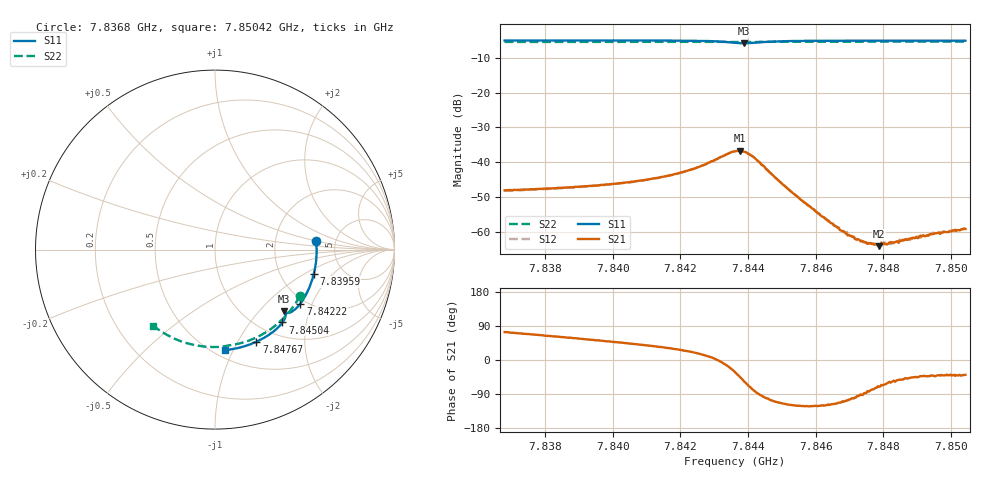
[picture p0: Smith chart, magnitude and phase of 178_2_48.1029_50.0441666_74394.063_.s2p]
#  HZ  S  RI  R  50.00
! Rohde & Schwarz Vector Network Analyzer
! Rohde-Schwarz,ZNB20-2Port,1311601062101988,3.16
! Created: UTC 12/23/2023, 3:52:28 AM
! freq[Hz]  re:S11  im:S11  re:S21  im:S21  re:S12  im:S12  re:S22  im:S22
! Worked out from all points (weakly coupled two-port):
!   401 points, 7.8368 GHz to 7.85042 GHz, reference 50 ohm
!   highest |S21| = -36.71 dB at 7.84375 GHz (marker M1); lowest = -64.2 dB at 7.84787 GHz (marker M2)
!   lowest |S11| = -5.7 dB at 7.84388 GHz (marker M3), VSWR 3.14, Z = 73.8 - j69.4 ohm
!   |S11| at or under -10 dB: nowhere
!   |S22| runs from -5.4 to -5.3 dB; largest |S21 - S12| = 0.00027
!   S11 on the Smith chart (normalised r, x): 7.8368 GHz: 3.53, +0.51; 7.83959 GHz: 3.07, -1.23; 7.84222 GHz: 1.87, -1.65; 7.84504 GHz: 1.25, -1.46; 7.84767 GHz: 0.80, -1.20; 7.85042 GHz: 0.57, -0.93
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7.836801e9  0.5641 0.049  0.0011 0.00376  0.00111 0.00368  0.4739 -0.2579
7.839083e9  0.5576 -0.1025  0.00252 0.00368  0.0025 0.00363  0.3784 -0.3857
7.839594e9  0.5502 -0.1359  0.00288 0.00365  0.00288 0.00361  0.3522 -0.41
7.840581e9  0.5302 -0.1997  0.00382 0.00353  0.00379 0.00352  0.2971 -0.4519
7.841365e9  0.5079 -0.2488  0.00493 0.00342  0.00487 0.0034  0.2499 -0.48
7.842216e9  0.4757 -0.3007  0.00694 0.00297  0.00689 0.00297  0.1954 -0.5047
7.843102e9  0.4257 -0.347  0.0112 -9.03e-05  0.0112 2.02e-06  0.1357 -0.5232
7.843613e9  0.39 -0.3512  0.0121 -0.0076  0.0122 -0.00761  0.1015 -0.5295
7.843749e9  0.3855 -0.3475  0.0105 -0.0101  0.0104 -0.0101  0.0929 -0.5309
7.843885e9  0.3852 -0.3445  0.00771 -0.0118  0.00784 -0.0117  0.0844 -0.5324
7.844226e9  0.393 -0.3523  0.00105 -0.0111  0.00119 -0.011  0.0624 -0.5367
7.845043e9  0.376 -0.4058  -0.00201 -0.00423  -0.00198 -0.00428  0.00527 -0.5425
7.845894e9  0.3336 -0.4497  -0.00113 -0.00183  -0.00117 -0.00182  -0.0549 -0.5407
7.846439e9  0.3034 -0.4727  -0.000604 -0.00118  -0.000657 -0.0012  -0.0928 -0.5359
7.846712e9  0.2877 -0.483  -0.0004 -0.000976  -0.000426 -0.00103  -0.1115 -0.5327
7.847188e9  0.2597 -0.4991  -0.000119 -0.000757  -0.000139 -0.000779  -0.1441 -0.525
7.847461e9  0.2432 -0.5076  3.91e-05 -0.000698  3.4e-05 -0.0007  -0.1627 -0.5197
7.847665e9  0.2308 -0.5137  0.00014 -0.000644  0.000122 -0.000665  -0.1764 -0.5155
7.84787e9  0.2183 -0.5189  0.000204 -0.000581  0.000231 -0.000602  -0.19 -0.5105
7.848176e9  0.1991 -0.5265  0.000371 -0.000587  0.000302 -0.000609  -0.2099 -0.5029
7.849436e9  0.1185 -0.5501  0.000693 -0.000606  0.00069 -0.000606  -0.2888 -0.4631
7.850424e9  0.0537 -0.5599  0.000846 -0.000686  0.00085 -0.000663  -0.3453 -0.4231
